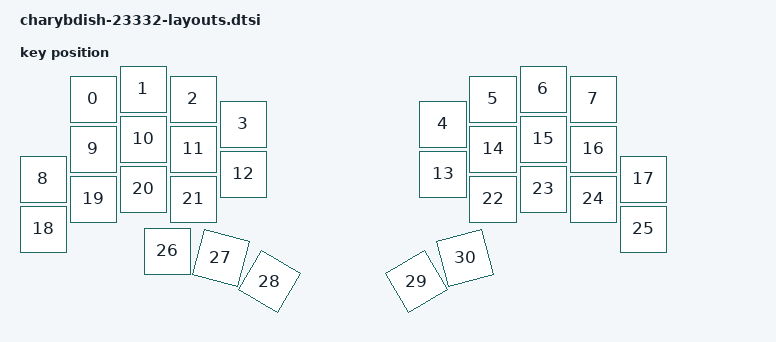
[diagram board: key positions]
#include <charybdish.dtsi>

/ {
    physical_layout0: physical_layout_0 {
        compatible = "zmk,physical-layout";
        display-name = "Charybd-ish 23332";

        kscan = <&kscan0>;
        transform = <&default_transform>;

        keys  //                     w   h    x    y     rot    rx    ry
            = <&key_physical_attrs 100 100  100   20       0     0     0>
            , <&key_physical_attrs 100 100  200    0       0     0     0>
            , <&key_physical_attrs 100 100  300   20       0     0     0>
            , <&key_physical_attrs 100 100  400   70       0     0     0>
            , <&key_physical_attrs 100 100  800   70       0     0     0>
            , <&key_physical_attrs 100 100  900   20       0     0     0>
            , <&key_physical_attrs 100 100 1000    0       0     0     0>
            , <&key_physical_attrs 100 100 1100   20       0     0     0>
            , <&key_physical_attrs 100 100    0  180       0     0     0>
            , <&key_physical_attrs 100 100  100  120       0     0     0>
            , <&key_physical_attrs 100 100  200  100       0     0     0>
            , <&key_physical_attrs 100 100  300  120       0     0     0>
            , <&key_physical_attrs 100 100  400  170       0     0     0>
            , <&key_physical_attrs 100 100  800  170       0     0     0>
            , <&key_physical_attrs 100 100  900  120       0     0     0>
            , <&key_physical_attrs 100 100 1000  100       0     0     0>
            , <&key_physical_attrs 100 100 1100  120       0     0     0>
            , <&key_physical_attrs 100 100 1200  180       0     0     0>
            , <&key_physical_attrs 100 100    0  280       0     0     0>
            , <&key_physical_attrs 100 100  100  220       0     0     0>
            , <&key_physical_attrs 100 100  200  200       0     0     0>
            , <&key_physical_attrs 100 100  300  220       0     0     0>
            , <&key_physical_attrs 100 100  900  220       0     0     0>
            , <&key_physical_attrs 100 100 1000  200       0     0     0>
            , <&key_physical_attrs 100 100 1100  220       0     0     0>
            , <&key_physical_attrs 100 100 1200  280       0     0     0>
            , <&key_physical_attrs 100 100  248  324       0     0     0>
            , <&key_physical_attrs 100 100  248  324    1500   298   790>
            , <&key_physical_attrs 100 100  248  330    3000   298   790>
            , <&key_physical_attrs 100 100  952  330 (-3000)  1002   790>
            , <&key_physical_attrs 100 100  952  324 (-1500)  1002   790>
            ;
    };
};
